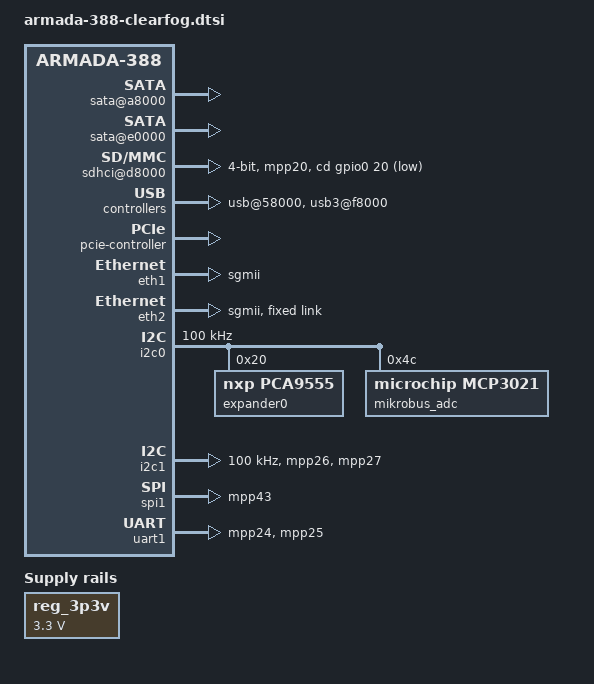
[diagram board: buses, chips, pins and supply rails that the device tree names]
/*
 * Device Tree include file for SolidRun Clearfog 88F6828 based boards
 *
 *  Copyright (C) 2015 Russell King
 *
 * This board is in development; the contents of this file work with
 * the A1 rev 2.0 of the board, which does not represent final
 * production board.  Things will change, don't expect this file to
 * remain compatible info the future.
 *
 * This file is dual-licensed: you can use it either under the terms
 * of the GPL or the X11 license, at your option. Note that this dual
 * licensing only applies to this file, and not this project as a
 * whole.
 *
 *  a) This file is free software; you can redistribute it and/or
 *     modify it under the terms of the GNU General Public License
 *     version 2 as published by the Free Software Foundation.
 *
 *     This file is distributed in the hope that it will be useful
 *     but WITHOUT ANY WARRANTY; without even the implied warranty of
 *     MERCHANTABILITY or FITNESS FOR A PARTICULAR PURPOSE.  See the
 *     GNU General Public License for more details.
 *
 * Or, alternatively
 *
 *  b) Permission is hereby granted, free of charge, to any person
 *     obtaining a copy of this software and associated documentation
 *     files (the "Software"), to deal in the Software without
 *     restriction, including without limitation the rights to use
 *     copy, modify, merge, publish, distribute, sublicense, and/or
 *     sell copies of the Software, and to permit persons to whom the
 *     Software is furnished to do so, subject to the following
 *     conditions:
 *
 *     The above copyright notice and this permission notice shall be
 *     included in all copies or substantial portions of the Software.
 *
 *     THE SOFTWARE IS PROVIDED , WITHOUT WARRANTY OF ANY KIND
 *     EXPRESS OR IMPLIED, INCLUDING BUT NOT LIMITED TO THE WARRANTIES
 *     OF MERCHANTABILITY, FITNESS FOR A PARTICULAR PURPOSE AND
 *     NONINFRINGEMENT. IN NO EVENT SHALL THE AUTHORS OR COPYRIGHT
 *     HOLDERS BE LIABLE FOR ANY CLAIM, DAMAGES OR OTHER LIABILITY
 *     WHETHER IN AN ACTION OF CONTRACT, TORT OR OTHERWISE, ARISING
 *     FROM, OUT OF OR IN CONNECTION WITH THE SOFTWARE OR THE USE OR
 *     OTHER DEALINGS IN THE SOFTWARE.
 */

#include "armada-388.dtsi"
#include "armada-38x-solidrun-microsom.dtsi"

/ {
	aliases {
		/* So that mvebu u-boot can update the MAC addresses */
		ethernet1 = &eth0;
		ethernet2 = &eth1;
		ethernet3 = &eth2;
	};

	chosen {
		stdout-path = "serial0:115200n8";
	};

	reg_3p3v: regulator-3p3v {
		compatible = "regulator-fixed";
		regulator-name = "3P3V";
		regulator-min-microvolt = <3300000>;
		regulator-max-microvolt = <3300000>;
		regulator-always-on;
	};

	soc {
		internal-regs {
			sata@a8000 {
				/* pinctrl? */
				status = "okay";
			};

			sata@e0000 {
				/* pinctrl? */
				status = "okay";
			};

			sdhci@d8000 {
				bus-width = <4>;
				cd-gpios = <&gpio0 20 GPIO_ACTIVE_LOW>;
				no-1-8-v;
				pinctrl-0 = <&microsom_sdhci_pins
					     &clearfog_sdhci_cd_pins>;
				pinctrl-names = "default";
				status = "okay";
				vmmc = <&reg_3p3v>;
				wp-inverted;
			};

			usb@58000 {
				/* CON3, nearest  power. */
				status = "okay";
			};

			usb3@f8000 {
				/* CON7 */
				status = "okay";
			};
		};

		pcie-controller {
			status = "okay";
			/*
			 * The two PCIe units are accessible through
			 * the mini-PCIe connectors on the board.
			 */
			pcie@2,0 {
				/* Port 1, Lane 0. CON3, nearest power. */
				reset-gpios = <&expander0 1 GPIO_ACTIVE_LOW>;
				status = "okay";
			};
		};
	};
};

&eth1 {
	/* ethernet@30000 */
	bm,pool-long = <2>;
	bm,pool-short = <1>;
	buffer-manager = <&bm>;
	phy-mode = "sgmii";
	status = "okay";
};

&eth2 {
	/* ethernet@34000 */
	bm,pool-long = <3>;
	bm,pool-short = <1>;
	buffer-manager = <&bm>;
	phy-mode = "sgmii";
	status = "okay";

	fixed-link {
		speed = <1000>;
		full-duplex;
	};
};

&i2c0 {
	/* Is there anything on this? */
	clock-frequency = <100000>;
	pinctrl-0 = <&i2c0_pins>;
	pinctrl-names = "default";
	status = "okay";

	/*
	 * PCA9655 GPIO expander, up to 1MHz clock.
	 *  0-CON3 CLKREQ#
	 *  1-CON3 PERST#
	 *  2-
	 *  3-CON3 W_DISABLE
	 *  4-
	 *  5-USB3 overcurrent
	 *  6-USB3 power
	 *  7-
	 *  8-JP4 P1
	 *  9-JP4 P4
	 * 10-JP4 P5
	 * 11-m.2 DEVSLP
	 * 12-SFP_LOS
	 * 13-SFP_TX_FAULT
	 * 14-SFP_TX_DISABLE
	 * 15-SFP_MOD_DEF0
	 */
	expander0: gpio-expander@20 {
		/*
		 * This is how it should be:
		 * compatible = "onnn,pca9655", "nxp,pca9555";
		 * but you can't do this because of the way I2C works.
		 */
		compatible = "nxp,pca9555";
		gpio-controller;
		#gpio-cells = <2>;
		reg = <0x20>;

		pcie1_0_clkreq {
			gpio-hog;
			gpios = <0 GPIO_ACTIVE_LOW>;
			input;
			line-name = "pcie1.0-clkreq";
		};
		pcie1_0_w_disable {
			gpio-hog;
			gpios = <3 GPIO_ACTIVE_LOW>;
			output-low;
			line-name = "pcie1.0-w-disable";
		};
		usb3_ilimit {
			gpio-hog;
			gpios = <5 GPIO_ACTIVE_LOW>;
			input;
			line-name = "usb3-current-limit";
		};
		usb3_power {
			gpio-hog;
			gpios = <6 GPIO_ACTIVE_HIGH>;
			output-high;
			line-name = "usb3-power";
		};
		m2_devslp {
			gpio-hog;
			gpios = <11 GPIO_ACTIVE_HIGH>;
			output-low;
			line-name = "m.2 devslp";
		};
		sfp_los {
			/* SFP loss of signal */
			gpio-hog;
			gpios = <12 GPIO_ACTIVE_HIGH>;
			input;
			line-name = "sfp-los";
		};
		sfp_tx_fault {
			/* SFP laser fault */
			gpio-hog;
			gpios = <13 GPIO_ACTIVE_HIGH>;
			input;
			line-name = "sfp-tx-fault";
		};
		sfp_tx_disable {
			/* SFP transmit disable */
			gpio-hog;
			gpios = <14 GPIO_ACTIVE_HIGH>;
			output-low;
			line-name = "sfp-tx-disable";
		};
		sfp_mod_def0 {
			/* SFP module present */
			gpio-hog;
			gpios = <15 GPIO_ACTIVE_LOW>;
			input;
			line-name = "sfp-mod-def0";
		};
	};

	/* The MCP3021 is 100kHz clock only */
	mikrobus_adc: mcp3021@4c {
		compatible = "microchip,mcp3021";
		reg = <0x4c>;
	};

	/* Also something at 0x64 */
};

&i2c1 {
	/*
	 * Routed to SFP, mikrobus, and PCIe.
	 * SFP limits this to 100kHz, and requires an AT24C01A/02/04 with
	 *  address pins tied low, which takes addresses 0x50 and 0x51.
	 * Mikrobus doesn't specify beyond an I2C bus being present.
	 * PCIe uses ARP to assign addresses, or 0x63-0x64.
	 */
	clock-frequency = <100000>;
	pinctrl-0 = <&clearfog_i2c1_pins>;
	pinctrl-names = "default";
	status = "okay";
};

&pinctrl {
	clearfog_i2c1_pins: i2c1-pins {
		/* SFP, PCIe, mSATA, mikrobus */
		marvell,pins = "mpp26", "mpp27";
		marvell,function = "i2c1";
	};
	clearfog_sdhci_cd_pins: clearfog-sdhci-cd-pins {
		marvell,pins = "mpp20";
		marvell,function = "gpio";
	};
	mikro_pins: mikro-pins {
		/* int: mpp22 rst: mpp29 */
		marvell,pins = "mpp22", "mpp29";
		marvell,function = "gpio";
	};
	mikro_spi_pins: mikro-spi-pins {
		marvell,pins = "mpp43";
		marvell,function = "spi1";
	};
	mikro_uart_pins: mikro-uart-pins {
		marvell,pins = "mpp24", "mpp25";
		marvell,function = "ua1";
	};
};

&spi1 {
	/*
	 * Add SPI CS pins for clearfog:
	 * CS0: W25Q32 (not populated on uSOM)
	 * CS1: PIC microcontroller (Pro models)
	 * CS2: mikrobus
	 */
	pinctrl-0 = <&spi1_pins &mikro_spi_pins>;
	pinctrl-names = "default";
	status = "okay";
};

&uart1 {
	/* mikrobus uart */
	pinctrl-0 = <&mikro_uart_pins>;
	pinctrl-names = "default";
	status = "okay";
};
